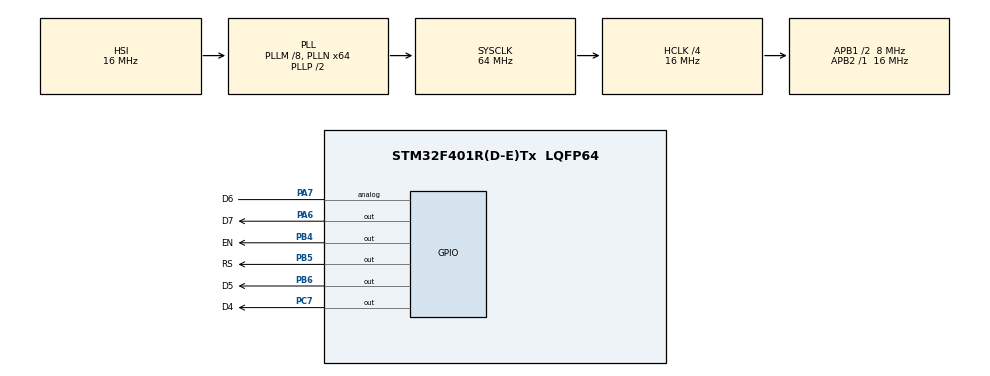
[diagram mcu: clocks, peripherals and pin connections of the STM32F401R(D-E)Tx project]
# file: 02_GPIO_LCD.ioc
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Mcu.Family=STM32F4
Mcu.Name=STM32F401R(D-E)Tx
Mcu.Package=LQFP64
NVIC.PriorityGroup=NVIC_PRIORITYGROUP_4
PA6.GPIO_Label=D7
PA6.Signal=GPIO_Output
PA7.GPIO_Label=D6
PA7.Signal=GPIO_Analog
PB4.GPIO_Label=EN
PB4.Signal=GPIO_Output
PB5.GPIO_Label=RS
PB5.Signal=GPIO_Output
PB6.GPIO_Label=D5
PB6.Signal=GPIO_Output
PC7.GPIO_Label=D4
PC7.Signal=GPIO_Output
ProjectManager.HeapSize=0x200
ProjectManager.StackSize=0x400
ProjectManager.TargetToolchain=STM32CubeIDE
RCC.48MHZClocksFreq_Value=32000000
RCC.AHBCLKDivider=RCC_SYSCLK_DIV4
RCC.AHBFreq_Value=16000000
RCC.APB1CLKDivider=RCC_HCLK_DIV2
RCC.APB1Freq_Value=8000000
RCC.APB1TimFreq_Value=16000000
RCC.APB2Freq_Value=16000000
RCC.APB2TimFreq_Value=16000000
RCC.CortexFreq_Value=16000000
RCC.HCLKFreq_Value=16000000
RCC.HSE_VALUE=25000000
RCC.HSI_VALUE=16000000
RCC.LSE_VALUE=32768
RCC.PLLM=8
RCC.PLLN=64
RCC.SYSCLKFreq_VALUE=64000000
RCC.SYSCLKSource=RCC_SYSCLKSOURCE_PLLCLK
RCC.VCOOutputFreq_Value=128000000
board=custom

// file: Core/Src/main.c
/* USER CODE BEGIN Header */
/**
  ******************************************************************************
  * @file           : main.c
  * @brief          : Main program body
  ******************************************************************************
  * @attention
  *
  * Copyright (c) 2023 STMicroelectronics.
  * All rights reserved.
  *
  * This software is licensed under terms that can be found in the LICENSE file
  * in the root directory of this software component.
  * If no LICENSE file comes with this software, it is provided AS-IS.
  *
  ******************************************************************************
  */
/* USER CODE END Header */
#include "main.h"

/* USER CODE BEGIN Includes */
#include <stdio.h>
#include "LCD_STM32.h"
/* USER CODE END Includes */

void SystemClock_Config(void);
static void MX_GPIO_Init(void);

int main(void)
{

  /* MCU Configuration--------------------------------------------------------*/

  /* Reset of all peripherals, Initializes the Flash interface and the Systick. */
  HAL_Init();

  /* Configure the system clock */
  SystemClock_Config();

  /* Initialize all configured peripherals */
  MX_GPIO_Init();
  /* USER CODE BEGIN 2 */
  LCD_STM32_Init();
  LCD_STM32_New_Char(1,0x0A,0x1F,0x1F,0x1F,0x0E,0x04,0x00,0x00);
  LCD_STM32_Set_Cursor(0, Fila1);
  LCD_STM32_Print_String("Bienvenidos");
  LCD_STM32_Set_Cursor(0, Fila2);
  LCD_STM32_Print_String("STM32 con godo ");
  LCD_STM32_Print_New_Char(1);

  /* USER CODE END 2 */

  /* Infinite loop */
  /* USER CODE BEGIN WHILE */
  uint8_t i;
  char lcd_buffer[16];
  while (1)
  {
	  for (i = 0; i < 99; ++i) {
		sprintf((char*)lcd_buffer,"%02u",i);
		LCD_STM32_Set_Cursor(14, Fila1);
		LCD_STM32_Print_String(lcd_buffer);
		HAL_Delay(500);
	  }
    /* USER CODE END WHILE */

  }
}

void SystemClock_Config(void)
{
  RCC_OscInitTypeDef RCC_OscInitStruct = {0};
  RCC_ClkInitTypeDef RCC_ClkInitStruct = {0};

  /** Configure the main internal regulator output voltage
  */
  __HAL_RCC_PWR_CLK_ENABLE();
  __HAL_PWR_VOLTAGESCALING_CONFIG(PWR_REGULATOR_VOLTAGE_SCALE2);

  /** Initializes the RCC Oscillators according to the specified parameters
  * in the RCC_OscInitTypeDef structure.
  */
  RCC_OscInitStruct.OscillatorType = RCC_OSCILLATORTYPE_HSI;
  RCC_OscInitStruct.HSIState = RCC_HSI_ON;
  RCC_OscInitStruct.HSICalibrationValue = RCC_HSICALIBRATION_DEFAULT;
  RCC_OscInitStruct.PLL.PLLState = RCC_PLL_ON;
  RCC_OscInitStruct.PLL.PLLSource = RCC_PLLSOURCE_HSI;
  RCC_OscInitStruct.PLL.PLLM = 8;
  RCC_OscInitStruct.PLL.PLLN = 64;
  RCC_OscInitStruct.PLL.PLLP = RCC_PLLP_DIV2;
  RCC_OscInitStruct.PLL.PLLQ = 4;
  if (HAL_RCC_OscConfig(&RCC_OscInitStruct) != HAL_OK)
  {
    Error_Handler();
  }

  /** Initializes the CPU, AHB and APB buses clocks
  */
  RCC_ClkInitStruct.ClockType = RCC_CLOCKTYPE_HCLK|RCC_CLOCKTYPE_SYSCLK
                              |RCC_CLOCKTYPE_PCLK1|RCC_CLOCKTYPE_PCLK2;
  RCC_ClkInitStruct.SYSCLKSource = RCC_SYSCLKSOURCE_PLLCLK;
  RCC_ClkInitStruct.AHBCLKDivider = RCC_SYSCLK_DIV4;
  RCC_ClkInitStruct.APB1CLKDivider = RCC_HCLK_DIV2;
  RCC_ClkInitStruct.APB2CLKDivider = RCC_HCLK_DIV1;

  if (HAL_RCC_ClockConfig(&RCC_ClkInitStruct, FLASH_LATENCY_0) != HAL_OK)
  {
    Error_Handler();
  }
}

static void MX_GPIO_Init(void)
{
  GPIO_InitTypeDef GPIO_InitStruct = {0};

  /* GPIO Ports Clock Enable */
  __HAL_RCC_GPIOA_CLK_ENABLE();
  __HAL_RCC_GPIOC_CLK_ENABLE();
  __HAL_RCC_GPIOB_CLK_ENABLE();

  /*Configure GPIO pin Output Level */
  HAL_GPIO_WritePin(D7_GPIO_Port, D7_Pin, GPIO_PIN_RESET);

  /*Configure GPIO pin Output Level */
  HAL_GPIO_WritePin(D4_GPIO_Port, D4_Pin, GPIO_PIN_RESET);

  /*Configure GPIO pin Output Level */
  HAL_GPIO_WritePin(GPIOB, EN_Pin|RS_Pin|D5_Pin, GPIO_PIN_RESET);

  /*Configure GPIO pin : D7_Pin */
  GPIO_InitStruct.Pin = D7_Pin;
  GPIO_InitStruct.Mode = GPIO_MODE_OUTPUT_PP;
  GPIO_InitStruct.Pull = GPIO_NOPULL;
  GPIO_InitStruct.Speed = GPIO_SPEED_FREQ_LOW;
  HAL_GPIO_Init(D7_GPIO_Port, &GPIO_InitStruct);

  /*Configure GPIO pin : D6_Pin */
  GPIO_InitStruct.Pin = D6_Pin;
  GPIO_InitStruct.Mode = GPIO_MODE_ANALOG;
  GPIO_InitStruct.Pull = GPIO_NOPULL;
  HAL_GPIO_Init(D6_GPIO_Port, &GPIO_InitStruct);

  /*Configure GPIO pin : D4_Pin */
  GPIO_InitStruct.Pin = D4_Pin;
  GPIO_InitStruct.Mode = GPIO_MODE_OUTPUT_PP;
  GPIO_InitStruct.Pull = GPIO_NOPULL;
  GPIO_InitStruct.Speed = GPIO_SPEED_FREQ_LOW;
  HAL_GPIO_Init(D4_GPIO_Port, &GPIO_InitStruct);

  /*Configure GPIO pins : EN_Pin RS_Pin D5_Pin */
  GPIO_InitStruct.Pin = EN_Pin|RS_Pin|D5_Pin;
  GPIO_InitStruct.Mode = GPIO_MODE_OUTPUT_PP;
  GPIO_InitStruct.Pull = GPIO_NOPULL;
  GPIO_InitStruct.Speed = GPIO_SPEED_FREQ_LOW;
  HAL_GPIO_Init(GPIOB, &GPIO_InitStruct);

}

void Error_Handler(void)
{
  __disable_irq();
  while (1)
  {
  }
}
